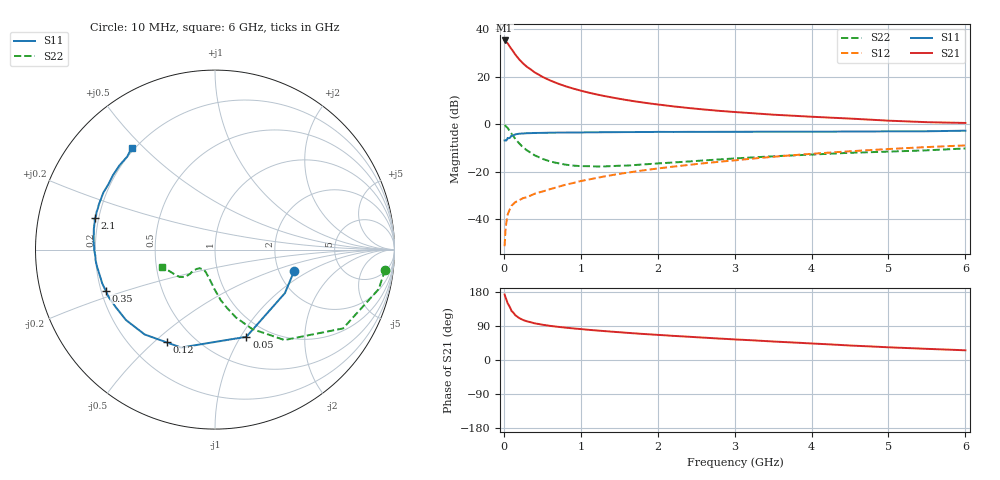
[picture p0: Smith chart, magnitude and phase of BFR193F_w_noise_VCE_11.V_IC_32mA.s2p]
! Infineon Technologies  Discrete & RF Semiconductors
! BFR193F
! VCE =  11. V,  IC =  32 mA
! Common Emitter S-Parameters:  Jan 2017
# GHz  S  MA  R  50
!  f  S11  S21  S12  S22
! GHz  MAG  ANG  MAG  ANG  MAG  ANG  MAG  ANG
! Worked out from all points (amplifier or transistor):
!   77 points, 10 MHz to 6 GHz, reference 50 ohm
!   highest |S21| = 35.3 dB at 10 MHz (marker M1)
!   |S21| within 3 dB of that: start of sweep to 85.68 MHz
!   unconditionally stable (mu >= 1): 1.138 GHz to 2.691 GHz
!   at 130 MHz: K = 0.36, MSG = 31.8 dB, |S12| = -33.4 dB
!   at 2.2 GHz: K = 1.02, MAG = 11.8 dB, |S12| = -17.9 dB
!   at 6 GHz: K = 0.84, MSG = 4.7 dB, |S12| = -8.9 dB
!   lowest NFmin = 1.21 dB at 450 MHz
!   S11 on the Smith chart (normalised r, x): 10 MHz: 2.42, -0.73; 50 MHz: 0.80, -1.06; 120 MHz: 0.35, -0.55; 350 MHz: 0.22, -0.17; 2.1 GHz: 0.19, +0.13; 6 GHz: 0.19, +0.46
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0.01  0.4568 -15.2  58.36 172.9  0.0027 75.9  0.954 -6.8
0.02  0.4588 -31.9  57.03 166.2  0.0055 77.8  0.9387 -13.5
0.05  0.5163 -70.2  50.63 149.3  0.0125 65.1  0.8379 -31.6
0.1  0.5776 -109.1  38.36 129.4  0.0192 54.2  0.6349 -52.5
0.12  0.583 -117.6  34.57 125.6  0.0207 52.4  0.5733 -56.7
0.15  0.6142 -129.7  29.27 118.0  0.0229 50.2  0.4885 -64.9
0.2  0.6326 -141.7  23.26 110.6  0.0251 48.3  0.3953 -72.9
0.25  0.6396 -150.2  19.12 105.6  0.0278 48.5  0.3265 -78.9
0.3  0.6484 -155.6  16.25 102.0  0.029 50.3  0.2826 -83.6
0.35  0.6507 -159.5  14.31 99.7  0.0316 52.3  0.2519 -86.6
0.4  0.6559 -163.3  12.41 96.7  0.0343 54.0  0.2221 -90.5
0.5  0.6587 -168.1  10.02 93.1  0.0382 56.9  0.1874 -96.0
0.6  0.664 -171.8  8.413 90.1  0.0428 59.9  0.1647 -101.1
0.7  0.6681 -175.0  7.239 87.6  0.0478 62.3  0.1517 -105.4
0.8  0.6678 -177.2  6.342 85.5  0.0531 64.2  0.1411 -109.6
1.1  0.6761 177.1  4.655 79.7  0.0683 67.3  0.131 -118.9
1.5  0.6829 171.5  3.445 73.3  0.0902 70.3  0.1337 -127.9
2.1  0.6904 165.0  2.498 65.1  0.1225 71.6  0.1529 -134.1
3.1  0.6951 156.3  1.768 53.3  0.1801 71.1  0.1947 -135.8
4.1  0.6975 147.5  1.416 42.6  0.2446 68.3  0.2339 -139.4
5.1  0.7096 137.6  1.174 32.7  0.3067 63.2  0.2689 -150.5
6  0.7327 129.1  1.066 25.6  0.3583 58.3  0.3095 -161.9
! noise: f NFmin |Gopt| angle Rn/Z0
0.45  1.21  0.4  177  0.06
0.9  1.3  0.43  177  0.07
1.9  1.86  0.58  -167  0.07
2.4  2.15  0.61  -158  0.12
